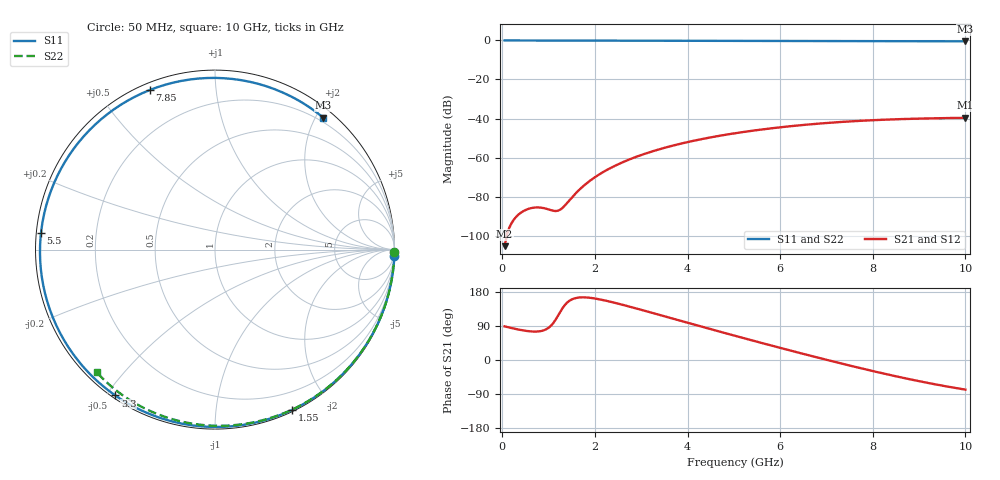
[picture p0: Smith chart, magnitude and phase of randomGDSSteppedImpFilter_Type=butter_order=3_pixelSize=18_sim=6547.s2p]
! freq	dB(S11)	phase(S11)	dB(S12)	phase(S12)
!  dB(S21)	phase(S21)	dB(S22)	phase(S22)
!S-par simulation data
#  GHz  S  DB  R 50
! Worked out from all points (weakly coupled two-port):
!   200 points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, 50 MHz to 10 GHz, reference 50 ohm
!   highest |S21| = -39.64 dB at 10 GHz (marker M1); lowest = -105.4 dB at 50 MHz (marker M2)
!   lowest |S11| = -0.4 dB at 10 GHz (marker M3), VSWR 39.51, Z = 6.89 + j105 ohm
!   |S11| at or under -10 dB: nowhere
!   |S22| runs from -0.4 to 0.0 dB; largest |S21 - S12| = 0
!   S11 on the Smith chart (normalised r, x): 50 MHz: 0, -52; 1.55 GHz: 0.02, -1.59; 3.3 GHz: 0.01, -0.53; 5.5 GHz: 0.01, +0.05; 7.85 GHz: 0.03, +0.67; 10 GHz: 0.14, +2.11
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0.05  -0.00 -2.2  -105.41 88.7  -105.41 88.7  -0.00 -0.8
0.35  -0.02 -15.1  -89.21 80.4  -89.21 80.4  -0.01 -5.4
0.7  -0.04 -30.0  -85.62 75.0  -85.62 75.0  -0.01 -10.7
1.15  -0.06 -48.6  -87.41 106.0  -87.41 106.0  -0.02 -17.6
1.5  -0.08 -62.5  -80.53 159.8  -80.53 159.8  -0.03 -22.9
1.55  -0.08 -64.4  -79.22 162.2  -79.22 162.2  -0.03 -23.6
1.75  -0.09 -72.0  -74.62 165.4  -74.62 165.4  -0.03 -26.6
2.05  -0.10 -83.0  -69.30 161.2  -69.30 161.2  -0.04 -31.1
2.4  -0.11 -95.3  -64.61 151.8  -64.61 151.8  -0.05 -36.2
2.85  -0.12 -110.3  -60.00 137.5  -60.00 137.5  -0.06 -42.8
3.3  -0.14 -124.4  -56.40 122.3  -56.40 122.3  -0.06 -49.2
3.4  -0.14 -127.4  -55.70 118.9  -55.70 118.9  -0.07 -50.7
4.2  -0.17 -150.5  -51.06 91.6  -51.06 91.6  -0.09 -61.8
5.05  -0.21 -173.6  -47.46 63.1  -47.46 63.1  -0.11 -73.3
5.5  -0.23 174.6  -45.94 48.2  -45.94 48.2  -0.13 -79.2
6.1  -0.26 158.9  -44.25 28.8  -44.25 28.8  -0.15 -87.0
6.7  -0.29 143.1  -42.88 9.9  -42.88 9.9  -0.18 -94.5
7.3  -0.32 127.2  -41.79 -8.6  -41.79 -8.6  -0.22 -101.9
7.85  -0.35 112.2  -41.03 -24.9  -41.03 -24.9  -0.25 -108.6
8.35  -0.37 98.3  -40.51 -38.9  -40.51 -38.9  -0.29 -114.5
9.15  -0.41 75.4  -39.96 -59.5  -39.96 -59.5  -0.36 -124.0
10  -0.44 50.7  -39.64 -78.2  -39.64 -78.2  -0.45 -133.9
